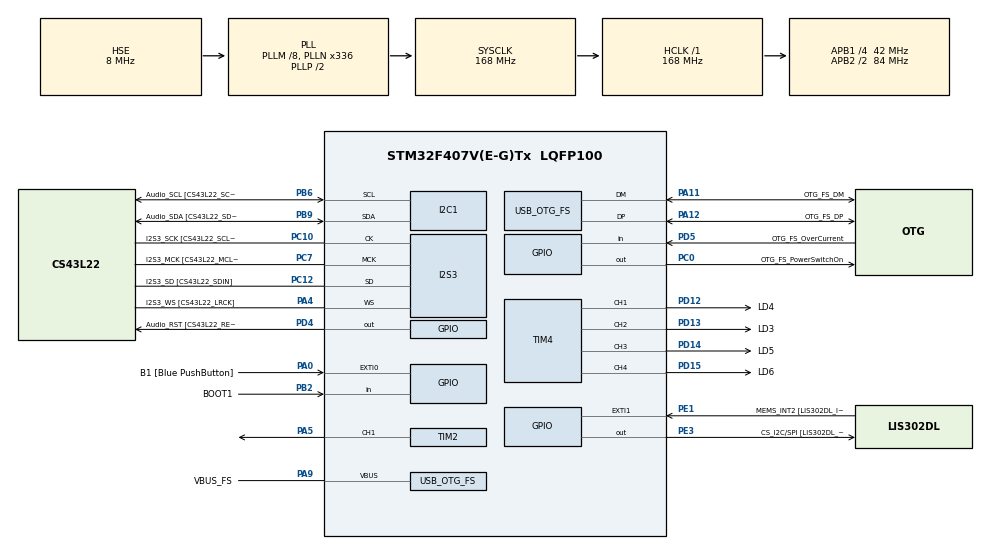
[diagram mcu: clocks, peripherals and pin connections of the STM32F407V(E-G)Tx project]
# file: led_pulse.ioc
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I2S3.AudioFreq-Half_Duplex_Master=I2S_AUDIOFREQ_96K
I2S3.ErrorAudioFreq=-2.34 %
I2S3.ErrorAudioFreq-Half_Duplex_Master=0.8 %
I2S3.FullDuplexMode=I2S_FULLDUPLEXMODE_DISABLE
I2S3.Instance=SPI$Index
I2S3.RealAudioFreq=93.75 KHz
I2S3.RealAudioFreq-Half_Duplex_Master=96.774 KHz
I2S3.VirtualMode=I2S_MODE_MASTER
Mcu.Family=STM32F4
Mcu.Name=STM32F407V(E-G)Tx
Mcu.Package=LQFP100
NVIC.OTG_FS_IRQn=true\:0\:0\:false\:false\:true\:true\:true\:true
NVIC.PriorityGroup=NVIC_PRIORITYGROUP_0
NVIC.TIM2_IRQn=true\:0\:0\:false\:false\:true\:true\:true\:true
PA0-WKUP.GPIO_Label=B1 [Blue PushButton]
PA0-WKUP.GPIO_ModeDefaultEXTI=GPIO_MODE_EVT_RISING
PA0-WKUP.GPIO_PuPd=GPIO_NOPULL
PA0-WKUP.Signal=GPXTI0
PA10.GPIO_Label=OTG_FS_ID
PA10.GPIO_Mode=GPIO_MODE_AF_PP
PA10.GPIO_PuPd=GPIO_NOPULL
PA10.GPIO_Speed=GPIO_SPEED_FREQ_LOW
PA10.Signal=USB_OTG_FS_ID
PA11.GPIO_Label=OTG_FS_DM
PA11.GPIO_Mode=GPIO_MODE_AF_PP
PA11.GPIO_PuPd=GPIO_NOPULL
PA11.GPIO_Speed=GPIO_SPEED_FREQ_LOW
PA11.Mode=Host_Only
PA11.Signal=USB_OTG_FS_DM
PA12.GPIO_Label=OTG_FS_DP
PA12.GPIO_Mode=GPIO_MODE_AF_PP
PA12.GPIO_PuPd=GPIO_NOPULL
PA12.GPIO_Speed=GPIO_SPEED_FREQ_LOW
PA12.Mode=Host_Only
PA12.Signal=USB_OTG_FS_DP
PA13.GPIO_Label=SWDIO
PA13.Mode=Serial_Wire
PA13.Signal=SYS_JTMS-SWDIO
PA14.GPIO_Label=SWCLK
PA14.Mode=Serial_Wire
PA14.Signal=SYS_JTCK-SWCLK
PA4.GPIO_Label=I2S3_WS [CS43L22_LRCK]
PA4.GPIO_Mode=GPIO_MODE_AF_PP
PA4.GPIO_PuPd=GPIO_NOPULL
PA4.GPIO_Speed=GPIO_SPEED_FREQ_LOW
PA4.Mode=Half_Duplex_Master
PA4.Signal=I2S3_WS
PA5.Signal=S_TIM2_CH1_ETR
PA9.GPIO_Label=VBUS_FS
PA9.GPIO_Mode=GPIO_MODE_INPUT
PA9.GPIO_PuPd=GPIO_NOPULL
PA9.Mode=Activate_VBUS
PA9.Signal=USB_OTG_FS_VBUS
PB10.GPIO_Label=CLK_IN [MP45DT02_CLK]
PB10.GPIO_Mode=GPIO_MODE_AF_PP
PB10.GPIO_PuPd=GPIO_NOPULL
PB10.GPIO_Speed=GPIO_SPEED_FREQ_LOW
PB10.Signal=I2S2_CK
PB2.GPIO_Label=BOOT1
PB2.GPIO_Mode=GPIO_MODE_INPUT
PB2.GPIO_PuPd=GPIO_NOPULL
PB2.Signal=GPIO_Input
PB3.GPIO_Label=SWO
PB3.Signal=SYS_JTDO-SWO
PB6.GPIO_Label=Audio_SCL [CS43L22_SCL]
PB6.GPIO_Mode=GPIO_MODE_AF_OD
PB6.GPIO_Pu=GPIO_PULLUP
PB6.GPIO_PuPd=GPIO_NOPULL
PB6.GPIO_Speed=GPIO_SPEED_FREQ_LOW
PB6.Mode=I2C
PB6.Signal=I2C1_SCL
PB9.GPIO_Label=Audio_SDA [CS43L22_SDA]
PB9.GPIO_Mode=GPIO_MODE_AF_OD
PB9.GPIO_Pu=GPIO_PULLUP
PB9.GPIO_PuPd=GPIO_NOPULL
PB9.GPIO_Speed=GPIO_SPEED_FREQ_LOW
PB9.Mode=I2C
PB9.Signal=I2C1_SDA
PC0.GPIO_Label=OTG_FS_PowerSwitchOn
PC0.GPIO_PuPd=GPIO_NOPULL
PC0.GPIO_Speed=GPIO_SPEED_FREQ_LOW
PC0.PinState=GPIO_PIN_SET
PC0.Signal=GPIO_Output
PC10.GPIO_Label=I2S3_SCK [CS43L22_SCLK]
PC10.GPIO_Mode=GPIO_MODE_AF_PP
PC10.GPIO_PuPd=GPIO_NOPULL
PC10.GPIO_Speed=GPIO_SPEED_FREQ_LOW
PC10.Mode=Half_Duplex_Master
PC10.Signal=I2S3_CK
PC12.GPIO_Label=I2S3_SD [CS43L22_SDIN]
PC12.GPIO_Mode=GPIO_MODE_AF_PP
PC12.GPIO_PuPd=GPIO_NOPULL
PC12.GPIO_Speed=GPIO_SPEED_FREQ_LOW
PC12.Mode=Half_Duplex_Master
PC12.Signal=I2S3_SD
PC14-OSC32_IN.GPIO_Label=PC14-OSC32_IN
PC14-OSC32_IN.Mode=LSE-External-Oscillator
PC14-OSC32_IN.Signal=RCC_OSC32_IN
PC15-OSC32_OUT.GPIO_Label=PC15-OSC32_OUT
PC15-OSC32_OUT.Mode=LSE-External-Oscillator
PC15-OSC32_OUT.Signal=RCC_OSC32_OUT
PC3.GPIO_Label=PDM_OUT [MP45DT02_DOUT]
PC3.GPIO_Mode=GPIO_MODE_AF_PP
PC3.GPIO_PuPd=GPIO_NOPULL
PC3.GPIO_Speed=GPIO_SPEED_FREQ_LOW
PC3.Signal=I2S2_SD
PC7.GPIO_Label=I2S3_MCK [CS43L22_MCLK]
PC7.GPIO_Mode=GPIO_MODE_AF_PP
PC7.GPIO_PuPd=GPIO_NOPULL
PC7.GPIO_Speed=GPIO_SPEED_FREQ_LOW
PC7.Mode=Master_Clock_Activated
PC7.Signal=I2S3_MCK
PD12.GPIO_Label=LD4
PD12.Signal=S_TIM4_CH1
PD13.GPIO_Label=LD3
PD13.Signal=S_TIM4_CH2
PD14.GPIO_Label=LD5
PD14.Signal=S_TIM4_CH3
PD15.GPIO_Label=LD6
PD15.Signal=S_TIM4_CH4
PD4.GPIO_Label=Audio_RST [CS43L22_RESET]
PD4.GPIO_PuPd=GPIO_NOPULL
PD4.GPIO_Speed=GPIO_SPEED_FREQ_LOW
PD4.Signal=GPIO_Output
PD5.GPIO_Label=OTG_FS_OverCurrent
PD5.GPIO_Mode=GPIO_MODE_INPUT
PD5.GPIO_PuPd=GPIO_NOPULL
PD5.Signal=GPIO_Input
PE1.GPIO_Label=MEMS_INT2 [LIS302DL_INT2]
PE1.GPIO_ModeDefaultEXTI=GPIO_MODE_EVT_RISING
PE1.GPIO_PuPd=GPIO_NOPULL
PE1.Signal=GPXTI1
PE3.GPIO_Label=CS_I2C/SPI [LIS302DL_CS_I2C/SPI]
PE3.GPIO_PuPd=GPIO_NOPULL
PE3.GPIO_Speed=GPIO_SPEED_FREQ_LOW
PE3.Signal=GPIO_Output
PH0-OSC_IN.GPIO_Label=PH0-OSC_IN
PH0-OSC_IN.Mode=HSE-External-Oscillator
PH0-OSC_IN.Signal=RCC_OSC_IN
PH1-OSC_OUT.GPIO_Label=PH1-OSC_OUT
PH1-OSC_OUT.Mode=HSE-External-Oscillator
PH1-OSC_OUT.Signal=RCC_OSC_OUT
ProjectManager.HeapSize=0x200
ProjectManager.StackSize=0x400
ProjectManager.TargetToolchain=STM32CubeIDE
RCC.48MHZClocksFreq_Value=48000000
RCC.AHBFreq_Value=168000000
RCC.APB1CLKDivider=RCC_HCLK_DIV4
RCC.APB1Freq_Value=42000000
RCC.APB1TimFreq_Value=84000000
RCC.APB2CLKDivider=RCC_HCLK_DIV2
RCC.APB2Freq_Value=84000000
RCC.APB2TimFreq_Value=168000000
RCC.CortexFreq_Value=168000000
RCC.HCLKFreq_Value=168000000
RCC.HSE_VALUE=8000000
RCC.HSI_VALUE=16000000
RCC.PLLM=8
RCC.PLLN=336
RCC.PLLQ=7
RCC.SYSCLKFreq_VALUE=168000000
RCC.SYSCLKSource=RCC_SYSCLKSOURCE_PLLCLK
RCC.VCOOutputFreq_Value=336000000
SH.S_TIM2_CH1_ETR.0=TIM2_CH1,PWM Generation1 CH1
SH.S_TIM4_CH1.0=TIM4_CH1,PWM Generation1 CH1
SH.S_TIM4_CH2.0=TIM4_CH2,PWM Generation2 CH2
SH.S_TIM4_CH3.0=TIM4_CH3,PWM Generation3 CH3
SH.S_TIM4_CH4.0=TIM4_CH4,PWM Generation4 CH4
TIM2.Channel-PWM\ Generation1\ CH1=TIM_CHANNEL_1
TIM2.Period=1000
TIM2.Prescaler=8400
TIM2.Pulse-PWM\ Generation1\ CH1=500
TIM4.Channel-PWM\ Generation1\ CH1=TIM_CHANNEL_1
TIM4.Channel-PWM\ Generation2\ CH2=TIM_CHANNEL_2
TIM4.Channel-PWM\ Generation3\ CH3=TIM_CHANNEL_3
TIM4.Channel-PWM\ Generation4\ CH4=TIM_CHANNEL_4
USB_HOST.BSP.number=1
USB_HOST.USBH_HandleTypeDef-CDC_FS=hUsbHostFS
USB_HOST.VirtualModeFS=Cdc
USB_HOST0.BSP.STBoard=false
USB_HOST0.BSP.api=Unknown
USB_HOST0.BSP.instance=PC0
USB_HOST0.BSP.ip=GPIO
USB_HOST0.BSP.mode=Output
USB_HOST0.BSP.name=Drive_VBUS_FS
USB_HOST0.BSP.solution=PC0
USB_OTG_FS.VirtualMode=Host_Only
USB_OTG_FS.phy_itface=HCD_PHY_EMBEDDED
VP_TIM2_VS_ClockSourceINT.Mode=Internal
VP_TIM4_VS_ClockSourceINT.Mode=Internal
VP_USB_HOST_VS_USB_HOST_CDC_FS.Mode=CDC_FS
board=STM32F407G-DISC1

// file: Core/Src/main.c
/* USER CODE BEGIN Header */
/**
  ******************************************************************************
  * @file           : main.c
  * @brief          : Main program body
  ******************************************************************************
  * @attention
  *
  * Copyright (c) 2026 STMicroelectronics.
  * All rights reserved.
  *
  * This software is licensed under terms that can be found in the LICENSE file
  * in the root directory of this software component.
  * If no LICENSE file comes with this software, it is provided AS-IS.
  *
  ******************************************************************************
  */
/* USER CODE END Header */
#include "main.h"
#include "usb_host.h"

I2C_HandleTypeDef hi2c1;

I2S_HandleTypeDef hi2s3;

TIM_HandleTypeDef htim2;
TIM_HandleTypeDef htim4;

/* USER CODE BEGIN PV */

volatile uint8_t enable_leds = 1;

/* USER CODE END PV */

void SystemClock_Config(void);
static void MX_GPIO_Init(void);
static void MX_I2C1_Init(void);
static void MX_I2S3_Init(void);
static void MX_TIM4_Init(void);
static void MX_TIM2_Init(void);
void MX_USB_HOST_Process(void);

int main(void)
{

  /* MCU Configuration--------------------------------------------------------*/

  /* Reset of all peripherals, Initializes the Flash interface and the Systick. */
  HAL_Init();

  /* Configure the system clock */
  SystemClock_Config();

  /* Initialize all configured peripherals */
  MX_GPIO_Init();
  MX_I2C1_Init();
  MX_I2S3_Init();
  MX_TIM4_Init();
  MX_USB_HOST_Init();
  MX_TIM2_Init();
  /* USER CODE BEGIN 2 */
  HAL_TIM_Base_Start_IT(&htim2);

  HAL_TIM_PWM_Start(&htim4, TIM_CHANNEL_1);
  HAL_TIM_PWM_Start(&htim4, TIM_CHANNEL_2);
  HAL_TIM_PWM_Start(&htim4, TIM_CHANNEL_3);
  HAL_TIM_PWM_Start(&htim4, TIM_CHANNEL_4);

  HAL_TIM_PWM_Start_IT(&htim2, TIM_CHANNEL_1);

  volatile uint32_t* ccrs[] = {
    &(htim4.Instance->CCR1),
    &(htim4.Instance->CCR2),
    &(htim4.Instance->CCR3),
    &(htim4.Instance->CCR4)
  };

  uint8_t dir[] = {
    1,
	1,
	1,
	1
  };

  uint32_t last_time = 0;
  const uint32_t UPDATE_PERIOD = 10;
  const uint32_t BASE_SPEED = 200;

  uint32_t pulse = 500;

  htim4.Instance->CCR4 = 0;

  /* USER CODE END 2 */

  /* Infinite loop */
  /* USER CODE BEGIN WHILE */
  while (1)
  {
	  uint32_t tick = HAL_GetTick();
	  if(tick - last_time < UPDATE_PERIOD)
		  continue;
	  last_time = tick;

	  __HAL_TIM_SET_COMPARE(&htim2, TIM_CHANNEL_1, pulse);

	  pulse = (pulse + 1)%1000;

	  for(int i = 0; i < 3; i++){
		  uint32_t speed_val = BASE_SPEED*(1 << i);
		  if(dir[i]){ // Count up
			  if(*(ccrs[i]) >= 0x10000 - speed_val){
				  *(ccrs[i]) -= speed_val;
				  dir[i] = !dir[i];
			  }else{
				  *(ccrs[i]) += speed_val;
			  }
		  } else {
			  if(*(ccrs[i]) < speed_val){
				  *(ccrs[i]) += speed_val;
				  dir[i] = !dir[i];
			  }else{
				  *(ccrs[i]) -= speed_val;
			  }
		  }
	  }

    /* USER CODE END WHILE */
    MX_USB_HOST_Process();

  }
}

void SystemClock_Config(void)
{
  RCC_OscInitTypeDef RCC_OscInitStruct = {0};
  RCC_ClkInitTypeDef RCC_ClkInitStruct = {0};

  /** Configure the main internal regulator output voltage
  */
  __HAL_RCC_PWR_CLK_ENABLE();
  __HAL_PWR_VOLTAGESCALING_CONFIG(PWR_REGULATOR_VOLTAGE_SCALE1);

  /** Initializes the RCC Oscillators according to the specified parameters
  * in the RCC_OscInitTypeDef structure.
  */
  RCC_OscInitStruct.OscillatorType = RCC_OSCILLATORTYPE_HSE;
  RCC_OscInitStruct.HSEState = RCC_HSE_ON;
  RCC_OscInitStruct.PLL.PLLState = RCC_PLL_ON;
  RCC_OscInitStruct.PLL.PLLSource = RCC_PLLSOURCE_HSE;
  RCC_OscInitStruct.PLL.PLLM = 8;
  RCC_OscInitStruct.PLL.PLLN = 336;
  RCC_OscInitStruct.PLL.PLLP = RCC_PLLP_DIV2;
  RCC_OscInitStruct.PLL.PLLQ = 7;
  if (HAL_RCC_OscConfig(&RCC_OscInitStruct) != HAL_OK)
  {
    Error_Handler();
  }

  /** Initializes the CPU, AHB and APB buses clocks
  */
  RCC_ClkInitStruct.ClockType = RCC_CLOCKTYPE_HCLK|RCC_CLOCKTYPE_SYSCLK
                              |RCC_CLOCKTYPE_PCLK1|RCC_CLOCKTYPE_PCLK2;
  RCC_ClkInitStruct.SYSCLKSource = RCC_SYSCLKSOURCE_PLLCLK;
  RCC_ClkInitStruct.AHBCLKDivider = RCC_SYSCLK_DIV1;
  RCC_ClkInitStruct.APB1CLKDivider = RCC_HCLK_DIV4;
  RCC_ClkInitStruct.APB2CLKDivider = RCC_HCLK_DIV2;

  if (HAL_RCC_ClockConfig(&RCC_ClkInitStruct, FLASH_LATENCY_5) != HAL_OK)
  {
    Error_Handler();
  }
}

static void MX_I2C1_Init(void)
{

  hi2c1.Instance = I2C1;
  hi2c1.Init.ClockSpeed = 100000;
  hi2c1.Init.DutyCycle = I2C_DUTYCYCLE_2;
  hi2c1.Init.OwnAddress1 = 0;
  hi2c1.Init.AddressingMode = I2C_ADDRESSINGMODE_7BIT;
  hi2c1.Init.DualAddressMode = I2C_DUALADDRESS_DISABLE;
  hi2c1.Init.OwnAddress2 = 0;
  hi2c1.Init.GeneralCallMode = I2C_GENERALCALL_DISABLE;
  hi2c1.Init.NoStretchMode = I2C_NOSTRETCH_DISABLE;
  if (HAL_I2C_Init(&hi2c1) != HAL_OK)
  {
    Error_Handler();
  }

}

static void MX_I2S3_Init(void)
{

  hi2s3.Instance = SPI3;
  hi2s3.Init.Mode = I2S_MODE_MASTER_TX;
  hi2s3.Init.Standard = I2S_STANDARD_PHILIPS;
  hi2s3.Init.DataFormat = I2S_DATAFORMAT_16B;
  hi2s3.Init.MCLKOutput = I2S_MCLKOUTPUT_ENABLE;
  hi2s3.Init.AudioFreq = I2S_AUDIOFREQ_96K;
  hi2s3.Init.CPOL = I2S_CPOL_LOW;
  hi2s3.Init.ClockSource = I2S_CLOCK_PLL;
  hi2s3.Init.FullDuplexMode = I2S_FULLDUPLEXMODE_DISABLE;
  if (HAL_I2S_Init(&hi2s3) != HAL_OK)
  {
    Error_Handler();
  }

}

static void MX_TIM2_Init(void)
{

  TIM_ClockConfigTypeDef sClockSourceConfig = {0};
  TIM_MasterConfigTypeDef sMasterConfig = {0};
  TIM_OC_InitTypeDef sConfigOC = {0};

  htim2.Instance = TIM2;
  htim2.Init.Prescaler = 8400;
  htim2.Init.CounterMode = TIM_COUNTERMODE_UP;
  htim2.Init.Period = 1000;
  htim2.Init.ClockDivision = TIM_CLOCKDIVISION_DIV1;
  htim2.Init.AutoReloadPreload = TIM_AUTORELOAD_PRELOAD_DISABLE;
  if (HAL_TIM_Base_Init(&htim2) != HAL_OK)
  {
    Error_Handler();
  }
  sClockSourceConfig.ClockSource = TIM_CLOCKSOURCE_INTERNAL;
  if (HAL_TIM_ConfigClockSource(&htim2, &sClockSourceConfig) != HAL_OK)
  {
    Error_Handler();
  }
  if (HAL_TIM_PWM_Init(&htim2) != HAL_OK)
  {
    Error_Handler();
  }
  sMasterConfig.MasterOutputTrigger = TIM_TRGO_RESET;
  sMasterConfig.MasterSlaveMode = TIM_MASTERSLAVEMODE_DISABLE;
  if (HAL_TIMEx_MasterConfigSynchronization(&htim2, &sMasterConfig) != HAL_OK)
  {
    Error_Handler();
  }
  sConfigOC.OCMode = TIM_OCMODE_PWM1;
  sConfigOC.Pulse = 500;
  sConfigOC.OCPolarity = TIM_OCPOLARITY_HIGH;
  sConfigOC.OCFastMode = TIM_OCFAST_DISABLE;
  if (HAL_TIM_PWM_ConfigChannel(&htim2, &sConfigOC, TIM_CHANNEL_1) != HAL_OK)
  {
    Error_Handler();
  }
  HAL_TIM_MspPostInit(&htim2);

}

static void MX_TIM4_Init(void)
{

  TIM_ClockConfigTypeDef sClockSourceConfig = {0};
  TIM_MasterConfigTypeDef sMasterConfig = {0};
  TIM_OC_InitTypeDef sConfigOC = {0};

  htim4.Instance = TIM4;
  htim4.Init.Prescaler = 0;
  htim4.Init.CounterMode = TIM_COUNTERMODE_UP;
  htim4.Init.Period = 65535;
  htim4.Init.ClockDivision = TIM_CLOCKDIVISION_DIV1;
  htim4.Init.AutoReloadPreload = TIM_AUTORELOAD_PRELOAD_DISABLE;
  if (HAL_TIM_Base_Init(&htim4) != HAL_OK)
  {
    Error_Handler();
  }
  sClockSourceConfig.ClockSource = TIM_CLOCKSOURCE_INTERNAL;
  if (HAL_TIM_ConfigClockSource(&htim4, &sClockSourceConfig) != HAL_OK)
  {
    Error_Handler();
  }
  if (HAL_TIM_PWM_Init(&htim4) != HAL_OK)
  {
    Error_Handler();
  }
  sMasterConfig.MasterOutputTrigger = TIM_TRGO_RESET;
  sMasterConfig.MasterSlaveMode = TIM_MASTERSLAVEMODE_DISABLE;
  if (HAL_TIMEx_MasterConfigSynchronization(&htim4, &sMasterConfig) != HAL_OK)
  {
    Error_Handler();
  }
  sConfigOC.OCMode = TIM_OCMODE_PWM1;
  sConfigOC.Pulse = 0;
  sConfigOC.OCPolarity = TIM_OCPOLARITY_HIGH;
  sConfigOC.OCFastMode = TIM_OCFAST_DISABLE;
  if (HAL_TIM_PWM_ConfigChannel(&htim4, &sConfigOC, TIM_CHANNEL_1) != HAL_OK)
  {
    Error_Handler();
  }
  if (HAL_TIM_PWM_ConfigChannel(&htim4, &sConfigOC, TIM_CHANNEL_2) != HAL_OK)
  {
    Error_Handler();
  }
  if (HAL_TIM_PWM_ConfigChannel(&htim4, &sConfigOC, TIM_CHANNEL_3) != HAL_OK)
  {
    Error_Handler();
  }
  if (HAL_TIM_PWM_ConfigChannel(&htim4, &sConfigOC, TIM_CHANNEL_4) != HAL_OK)
  {
    Error_Handler();
  }
  HAL_TIM_MspPostInit(&htim4);

}

static void MX_GPIO_Init(void)
{
  GPIO_InitTypeDef GPIO_InitStruct = {0};

  /* GPIO Ports Clock Enable */
  __HAL_RCC_GPIOE_CLK_ENABLE();
  __HAL_RCC_GPIOC_CLK_ENABLE();
  __HAL_RCC_GPIOH_CLK_ENABLE();
  __HAL_RCC_GPIOA_CLK_ENABLE();
  __HAL_RCC_GPIOB_CLK_ENABLE();
  __HAL_RCC_GPIOD_CLK_ENABLE();

  /*Configure GPIO pin Output Level */
  HAL_GPIO_WritePin(CS_I2C_SPI_GPIO_Port, CS_I2C_SPI_Pin, GPIO_PIN_RESET);

  /*Configure GPIO pin Output Level */
  HAL_GPIO_WritePin(OTG_FS_PowerSwitchOn_GPIO_Port, OTG_FS_PowerSwitchOn_Pin, GPIO_PIN_SET);

  /*Configure GPIO pin Output Level */
  HAL_GPIO_WritePin(Audio_RST_GPIO_Port, Audio_RST_Pin, GPIO_PIN_RESET);

  /*Configure GPIO pin : CS_I2C_SPI_Pin */
  GPIO_InitStruct.Pin = CS_I2C_SPI_Pin;
  GPIO_InitStruct.Mode = GPIO_MODE_OUTPUT_PP;
  GPIO_InitStruct.Pull = GPIO_NOPULL;
  GPIO_InitStruct.Speed = GPIO_SPEED_FREQ_LOW;
  HAL_GPIO_Init(CS_I2C_SPI_GPIO_Port, &GPIO_InitStruct);

  /*Configure GPIO pin : OTG_FS_PowerSwitchOn_Pin */
  GPIO_InitStruct.Pin = OTG_FS_PowerSwitchOn_Pin;
  GPIO_InitStruct.Mode = GPIO_MODE_OUTPUT_PP;
  GPIO_InitStruct.Pull = GPIO_NOPULL;
  GPIO_InitStruct.Speed = GPIO_SPEED_FREQ_LOW;
  HAL_GPIO_Init(OTG_FS_PowerSwitchOn_GPIO_Port, &GPIO_InitStruct);

  /*Configure GPIO pin : PDM_OUT_Pin */
  GPIO_InitStruct.Pin = PDM_OUT_Pin;
  GPIO_InitStruct.Mode = GPIO_MODE_AF_PP;
  GPIO_InitStruct.Pull = GPIO_NOPULL;
  GPIO_InitStruct.Speed = GPIO_SPEED_FREQ_LOW;
  GPIO_InitStruct.Alternate = GPIO_AF5_SPI2;
  HAL_GPIO_Init(PDM_OUT_GPIO_Port, &GPIO_InitStruct);

  /*Configure GPIO pin : B1_Pin */
  GPIO_InitStruct.Pin = B1_Pin;
  GPIO_InitStruct.Mode = GPIO_MODE_EVT_RISING;
  GPIO_InitStruct.Pull = GPIO_NOPULL;
  HAL_GPIO_Init(B1_GPIO_Port, &GPIO_InitStruct);

  /*Configure GPIO pin : BOOT1_Pin */
  GPIO_InitStruct.Pin = BOOT1_Pin;
  GPIO_InitStruct.Mode = GPIO_MODE_INPUT;
  GPIO_InitStruct.Pull = GPIO_NOPULL;
  HAL_GPIO_Init(BOOT1_GPIO_Port, &GPIO_InitStruct);

  /*Configure GPIO pin : CLK_IN_Pin */
  GPIO_InitStruct.Pin = CLK_IN_Pin;
  GPIO_InitStruct.Mode = GPIO_MODE_AF_PP;
  GPIO_InitStruct.Pull = GPIO_NOPULL;
  GPIO_InitStruct.Speed = GPIO_SPEED_FREQ_LOW;
  GPIO_InitStruct.Alternate = GPIO_AF5_SPI2;
  HAL_GPIO_Init(CLK_IN_GPIO_Port, &GPIO_InitStruct);

  /*Configure GPIO pin : Audio_RST_Pin */
  GPIO_InitStruct.Pin = Audio_RST_Pin;
  GPIO_InitStruct.Mode = GPIO_MODE_OUTPUT_PP;
  GPIO_InitStruct.Pull = GPIO_NOPULL;
  GPIO_InitStruct.Speed = GPIO_SPEED_FREQ_LOW;
  HAL_GPIO_Init(Audio_RST_GPIO_Port, &GPIO_InitStruct);

  /*Configure GPIO pin : OTG_FS_OverCurrent_Pin */
  GPIO_InitStruct.Pin = OTG_FS_OverCurrent_Pin;
  GPIO_InitStruct.Mode = GPIO_MODE_INPUT;
  GPIO_InitStruct.Pull = GPIO_NOPULL;
  HAL_GPIO_Init(OTG_FS_OverCurrent_GPIO_Port, &GPIO_InitStruct);

  /*Configure GPIO pin : MEMS_INT2_Pin */
  GPIO_InitStruct.Pin = MEMS_INT2_Pin;
  GPIO_InitStruct.Mode = GPIO_MODE_EVT_RISING;
  GPIO_InitStruct.Pull = GPIO_NOPULL;
  HAL_GPIO_Init(MEMS_INT2_GPIO_Port, &GPIO_InitStruct);

}

/* USER CODE BEGIN 4 */
void HAL_TIM_PWM_PulseFinishedCallback(TIM_HandleTypeDef *htim){
	if(htim->Instance == TIM2 && HAL_TIM_ACTIVE_CHANNEL_1){
		htim4.Instance->CCR4 ^= 0xFFFF;
	}
}
/* USER CODE END 4 */

void Error_Handler(void)
{
  __disable_irq();
  while (1)
  {
  }
}
